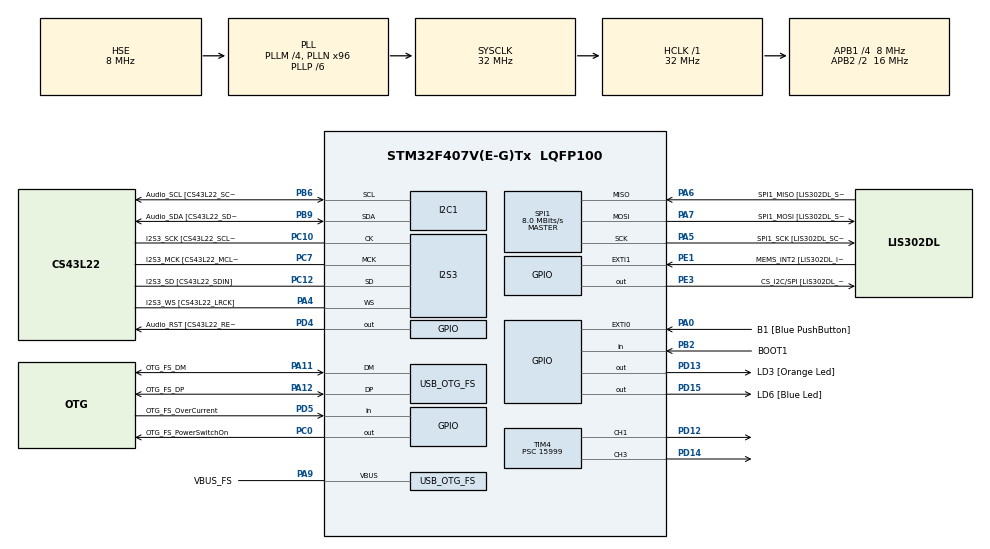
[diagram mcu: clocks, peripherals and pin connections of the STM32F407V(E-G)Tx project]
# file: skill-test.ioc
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I2S3.AudioFreq=I2S_AUDIOFREQ_96K
I2S3.AudioFreq-Half_Duplex_Master=I2S_AUDIOFREQ_96K
I2S3.ErrorAudioFreq=- %
I2S3.ErrorAudioFreq-Half_Duplex_Master=0.8 %
I2S3.FullDuplexMode=I2S_FULLDUPLEXMODE_DISABLE
I2S3.Instance=SPI$Index
I2S3.RealAudioFreq=- Hz
I2S3.RealAudioFreq-Half_Duplex_Master=96.774 KHz
I2S3.VirtualMode=I2S_MODE_MASTER
Mcu.Family=STM32F4
Mcu.Name=STM32F407V(E-G)Tx
Mcu.Package=LQFP100
NVIC.OTG_FS_IRQn=true\:0\:0\:false\:false\:true\:true\:true
NVIC.PriorityGroup=NVIC_PRIORITYGROUP_0
PA0-WKUP.GPIO_Label=B1 [Blue PushButton]
PA0-WKUP.GPIO_ModeDefaultEXTI=GPIO_MODE_EVT_RISING
PA0-WKUP.GPIO_PuPd=GPIO_NOPULL
PA0-WKUP.Signal=GPXTI0
PA10.GPIO_Label=OTG_FS_ID
PA10.GPIO_Mode=GPIO_MODE_AF_PP
PA10.GPIO_PuPd=GPIO_NOPULL
PA10.GPIO_Speed=GPIO_SPEED_FREQ_LOW
PA10.Signal=USB_OTG_FS_ID
PA11.GPIO_Label=OTG_FS_DM
PA11.GPIO_Mode=GPIO_MODE_AF_PP
PA11.GPIO_PuPd=GPIO_NOPULL
PA11.GPIO_Speed=GPIO_SPEED_FREQ_LOW
PA11.Mode=Host_Only
PA11.Signal=USB_OTG_FS_DM
PA12.GPIO_Label=OTG_FS_DP
PA12.GPIO_Mode=GPIO_MODE_AF_PP
PA12.GPIO_PuPd=GPIO_NOPULL
PA12.GPIO_Speed=GPIO_SPEED_FREQ_LOW
PA12.Mode=Host_Only
PA12.Signal=USB_OTG_FS_DP
PA13.GPIO_Label=SWDIO
PA13.Mode=Serial_Wire
PA13.Signal=SYS_JTMS-SWDIO
PA14.GPIO_Label=SWCLK
PA14.Mode=Serial_Wire
PA14.Signal=SYS_JTCK-SWCLK
PA4.GPIO_Label=I2S3_WS [CS43L22_LRCK]
PA4.GPIO_Mode=GPIO_MODE_AF_PP
PA4.GPIO_PuPd=GPIO_NOPULL
PA4.GPIO_Speed=GPIO_SPEED_FREQ_LOW
PA4.Mode=Half_Duplex_Master
PA4.Signal=I2S3_WS
PA5.GPIO_Label=SPI1_SCK [LIS302DL_SCL/SPC]
PA5.GPIO_Mode=GPIO_MODE_AF_PP
PA5.GPIO_PuPd=GPIO_NOPULL
PA5.GPIO_Speed=GPIO_SPEED_FREQ_LOW
PA5.Mode=Full_Duplex_Master
PA5.Signal=SPI1_SCK
PA6.GPIO_Label=SPI1_MISO [LIS302DL_SDO]
PA6.GPIO_Mode=GPIO_MODE_AF_PP
PA6.GPIO_PuPd=GPIO_NOPULL
PA6.GPIO_Speed=GPIO_SPEED_FREQ_LOW
PA6.Mode=Full_Duplex_Master
PA6.Signal=SPI1_MISO
PA7.GPIO_Label=SPI1_MOSI [LIS302DL_SDA/SDI/SDO]
PA7.GPIO_Mode=GPIO_MODE_AF_PP
PA7.GPIO_PuPd=GPIO_NOPULL
PA7.GPIO_Speed=GPIO_SPEED_FREQ_LOW
PA7.Mode=Full_Duplex_Master
PA7.Signal=SPI1_MOSI
PA9.GPIO_Label=VBUS_FS
PA9.GPIO_Mode=GPIO_MODE_INPUT
PA9.GPIO_PuPd=GPIO_NOPULL
PA9.Mode=Activate_VBUS
PA9.Signal=USB_OTG_FS_VBUS
PB10.GPIO_Label=CLK_IN [MP45DT02_CLK]
PB10.GPIO_Mode=GPIO_MODE_AF_PP
PB10.GPIO_PuPd=GPIO_NOPULL
PB10.GPIO_Speed=GPIO_SPEED_FREQ_LOW
PB10.Signal=I2S2_CK
PB2.GPIO_Label=BOOT1
PB2.GPIO_Mode=GPIO_MODE_INPUT
PB2.GPIO_PuPd=GPIO_NOPULL
PB2.Signal=GPIO_Input
PB3.GPIO_Label=SWO
PB3.Signal=SYS_JTDO-SWO
PB6.GPIO_Label=Audio_SCL [CS43L22_SCL]
PB6.GPIO_Mode=GPIO_MODE_AF_OD
PB6.GPIO_PuPd=GPIO_NOPULL
PB6.GPIO_Speed=GPIO_SPEED_FREQ_LOW
PB6.Mode=I2C
PB6.Signal=I2C1_SCL
PB9.GPIO_Label=Audio_SDA [CS43L22_SDA]
PB9.GPIO_Mode=GPIO_MODE_AF_OD
PB9.GPIO_PuPd=GPIO_NOPULL
PB9.GPIO_Speed=GPIO_SPEED_FREQ_LOW
PB9.Mode=I2C
PB9.Signal=I2C1_SDA
PC0.GPIO_Label=OTG_FS_PowerSwitchOn
PC0.GPIO_PuPd=GPIO_NOPULL
PC0.GPIO_Speed=GPIO_SPEED_FREQ_LOW
PC0.PinState=GPIO_PIN_SET
PC0.Signal=GPIO_Output
PC10.GPIO_Label=I2S3_SCK [CS43L22_SCLK]
PC10.GPIO_Mode=GPIO_MODE_AF_PP
PC10.GPIO_PuPd=GPIO_NOPULL
PC10.GPIO_Speed=GPIO_SPEED_FREQ_LOW
PC10.Mode=Half_Duplex_Master
PC10.Signal=I2S3_CK
PC12.GPIO_Label=I2S3_SD [CS43L22_SDIN]
PC12.GPIO_Mode=GPIO_MODE_AF_PP
PC12.GPIO_PuPd=GPIO_NOPULL
PC12.GPIO_Speed=GPIO_SPEED_FREQ_LOW
PC12.Mode=Half_Duplex_Master
PC12.Signal=I2S3_SD
PC14-OSC32_IN.GPIO_Label=PC14-OSC32_IN
PC14-OSC32_IN.Mode=LSE-External-Oscillator
PC14-OSC32_IN.Signal=RCC_OSC32_IN
PC15-OSC32_OUT.GPIO_Label=PC15-OSC32_OUT
PC15-OSC32_OUT.Mode=LSE-External-Oscillator
PC15-OSC32_OUT.Signal=RCC_OSC32_OUT
PC3.GPIO_Label=PDM_OUT [MP45DT02_DOUT]
PC3.GPIO_Mode=GPIO_MODE_AF_PP
PC3.GPIO_PuPd=GPIO_NOPULL
PC3.GPIO_Speed=GPIO_SPEED_FREQ_LOW
PC3.Signal=I2S2_SD
PC7.GPIO_Label=I2S3_MCK [CS43L22_MCLK]
PC7.GPIO_Mode=GPIO_MODE_AF_PP
PC7.GPIO_PuPd=GPIO_NOPULL
PC7.GPIO_Speed=GPIO_SPEED_FREQ_LOW
PC7.Mode=Master_Clock_Activated
PC7.Signal=I2S3_MCK
PD12.Signal=S_TIM4_CH1
PD13.GPIO_Label=LD3 [Orange Led]
PD13.GPIO_PuPd=GPIO_NOPULL
PD13.GPIO_Speed=GPIO_SPEED_FREQ_LOW
PD13.Signal=GPIO_Output
PD14.Signal=S_TIM4_CH3
PD15.GPIO_Label=LD6 [Blue Led]
PD15.GPIO_PuPd=GPIO_NOPULL
PD15.GPIO_Speed=GPIO_SPEED_FREQ_LOW
PD15.Signal=GPIO_Output
PD4.GPIO_Label=Audio_RST [CS43L22_RESET]
PD4.GPIO_PuPd=GPIO_NOPULL
PD4.GPIO_Speed=GPIO_SPEED_FREQ_LOW
PD4.Signal=GPIO_Output
PD5.GPIO_Label=OTG_FS_OverCurrent
PD5.GPIO_Mode=GPIO_MODE_INPUT
PD5.GPIO_PuPd=GPIO_NOPULL
PD5.Signal=GPIO_Input
PE1.GPIO_Label=MEMS_INT2 [LIS302DL_INT2]
PE1.GPIO_ModeDefaultEXTI=GPIO_MODE_EVT_RISING
PE1.GPIO_PuPd=GPIO_NOPULL
PE1.Signal=GPXTI1
PE3.GPIO_Label=CS_I2C/SPI [LIS302DL_CS_I2C/SPI]
PE3.GPIO_PuPd=GPIO_NOPULL
PE3.GPIO_Speed=GPIO_SPEED_FREQ_LOW
PE3.Signal=GPIO_Output
PH0-OSC_IN.GPIO_Label=PH0-OSC_IN
PH0-OSC_IN.Mode=HSE-External-Oscillator
PH0-OSC_IN.Signal=RCC_OSC_IN
PH1-OSC_OUT.GPIO_Label=PH1-OSC_OUT
PH1-OSC_OUT.Mode=HSE-External-Oscillator
PH1-OSC_OUT.Signal=RCC_OSC_OUT
ProjectManager.HeapSize=0x200
ProjectManager.StackSize=0x400
ProjectManager.TargetToolchain=STM32CubeIDE
RCC.48MHZClocksFreq_Value=48000000
RCC.AHBFreq_Value=32000000
RCC.APB1CLKDivider=RCC_HCLK_DIV4
RCC.APB1Freq_Value=8000000
RCC.APB1TimFreq_Value=16000000
RCC.APB2CLKDivider=RCC_HCLK_DIV2
RCC.APB2Freq_Value=16000000
RCC.APB2TimFreq_Value=32000000
RCC.CortexFreq_Value=32000000
RCC.HCLKFreq_Value=32000000
RCC.HSE_VALUE=8000000
RCC.HSI_VALUE=16000000
RCC.PLLI2SN=50
RCC.PLLM=4
RCC.PLLN=96
RCC.PLLP=RCC_PLLP_DIV6
RCC.SYSCLKFreq_VALUE=32000000
RCC.SYSCLKSource=RCC_SYSCLKSOURCE_PLLCLK
RCC.VCOOutputFreq_Value=192000000
SH.S_TIM4_CH1.0=TIM4_CH1,PWM Generation1 CH1
SH.S_TIM4_CH3.0=TIM4_CH3,PWM Generation3 CH3
SPI1.BaudRatePrescaler-Full_Duplex_Master=SPI_BAUDRATEPRESCALER_2
SPI1.CalculateBaudRate=8.0 MBits/s
SPI1.CalculateBaudRate-Full_Duplex_Master=42.0 MBits/s
SPI1.Direction=SPI_DIRECTION_2LINES
SPI1.Mode=SPI_MODE_MASTER
SPI1.Mode-Full_Duplex_Master=SPI_MODE_MASTER
SPI1.VirtualType=VM_MASTER
TIM4.AutoReloadPreload=TIM_AUTORELOAD_PRELOAD_ENABLE
TIM4.Channel-PWM\ Generation1\ CH1=TIM_CHANNEL_1
TIM4.Channel-PWM\ Generation3\ CH3=TIM_CHANNEL_3
TIM4.Period=149
TIM4.Prescaler=15999
TIM4.Pulse-PWM\ Generation1\ CH1=75
USB_HOST.BSP.number=1
USB_HOST.USBH_HandleTypeDef-CDC_FS=hUsbHostFS
USB_HOST.VirtualModeFS=Cdc
USB_HOST0.BSP.STBoard=false
USB_HOST0.BSP.api=Unknown
USB_HOST0.BSP.i2caddr=0
USB_HOST0.BSP.i2creg=0
USB_HOST0.BSP.instance=PC0
USB_HOST0.BSP.ip=GPIO
USB_HOST0.BSP.mode=Output
USB_HOST0.BSP.name=Drive_VBUS_FS
USB_HOST0.BSP.solution=PC0
USB_OTG_FS.VirtualMode=Host_Only
USB_OTG_FS.phy_itface=HCD_PHY_EMBEDDED
VP_TIM4_VS_ClockSourceINT.Mode=Internal
VP_USB_HOST_VS_USB_HOST_CDC_FS.Mode=CDC_FS
board=STM32F4DISCOVERY

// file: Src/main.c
/* USER CODE BEGIN Header */
/**
  ******************************************************************************
  * @file           : main.c
  * @brief          : Main program body
  ******************************************************************************
  * @attention
  *
  * <h2><center>&copy; Copyright (c) 2019 STMicroelectronics.
  * All rights reserved.</center></h2>
  *
  * This software component is licensed by ST under Ultimate Liberty license
  * SLA0044, the "License"; You may not use this file except in compliance with
  * the License. You may obtain a copy of the License at:
  *                             www.st.com/SLA0044
  *
  ******************************************************************************
  */
/* USER CODE END Header */

#include "main.h"
#include "usb_host.h"

I2C_HandleTypeDef hi2c1;

I2S_HandleTypeDef hi2s3;

SPI_HandleTypeDef hspi1;

TIM_HandleTypeDef htim4;

void SystemClock_Config(void);
static void MX_GPIO_Init(void);
static void MX_I2C1_Init(void);
static void MX_I2S3_Init(void);
static void MX_SPI1_Init(void);
static void MX_TIM4_Init(void);
void MX_USB_HOST_Process(void);

int main(void)
{

  /* MCU Configuration--------------------------------------------------------*/

  /* Reset of all peripherals, Initializes the Flash interface and the Systick. */
  HAL_Init();

  /* Configure the system clock */
  SystemClock_Config();

  /* Initialize all configured peripherals */
  MX_GPIO_Init();
  MX_I2C1_Init();
  MX_I2S3_Init();
  MX_SPI1_Init();
  MX_USB_HOST_Init();
  MX_TIM4_Init();
  /* USER CODE BEGIN 2 */
  int state = 0;
  HAL_TIM_PWM_Start(&htim4, TIM_CHANNEL_1);
  HAL_TIM_PWM_Start(&htim4, TIM_CHANNEL_3);
  /* USER CODE END 2 */

  /* Infinite loop */
  while (1)
  {
    MX_USB_HOST_Process();

    /* USER CODE BEGIN 3 */
    if (state == 0) {
    	if (HAL_GPIO_ReadPin(GPIOA, GPIO_PIN_0) == HAL_OK) {
    		while (HAL_GPIO_ReadPin(GPIOA, GPIO_PIN_0) == HAL_OK);
    		state = 1;
    	}
    } else if (state == 1) {
    	TIM4->ARR = 29;
    	TIM4->CCR1 = 15;
    	TIM4->CCR3 = 15;
    	if (HAL_GPIO_ReadPin(GPIOA, GPIO_PIN_0) == HAL_OK) {
    		int i = 0;
    		while (HAL_GPIO_ReadPin(GPIOA, GPIO_PIN_0) == HAL_OK) {
    			HAL_Delay(100);
    			i += 100;
    		}
    		if (i > 2000) {
    			state = 2;
    		}
    	}
    } else if (state == 2) {
    	TIM4->CCR1 = 0;
    	TIM4->CCR3 = 0;
    }
  }
  /* USER CODE END 3 */
}

void SystemClock_Config(void)
{
  RCC_OscInitTypeDef RCC_OscInitStruct = {0};
  RCC_ClkInitTypeDef RCC_ClkInitStruct = {0};
  RCC_PeriphCLKInitTypeDef PeriphClkInitStruct = {0};

  /** Configure the main internal regulator output voltage
  */
  __HAL_RCC_PWR_CLK_ENABLE();
  __HAL_PWR_VOLTAGESCALING_CONFIG(PWR_REGULATOR_VOLTAGE_SCALE1);
  /** Initializes the CPU, AHB and APB busses clocks
  */
  RCC_OscInitStruct.OscillatorType = RCC_OSCILLATORTYPE_HSE;
  RCC_OscInitStruct.HSEState = RCC_HSE_ON;
  RCC_OscInitStruct.PLL.PLLState = RCC_PLL_ON;
  RCC_OscInitStruct.PLL.PLLSource = RCC_PLLSOURCE_HSE;
  RCC_OscInitStruct.PLL.PLLM = 4;
  RCC_OscInitStruct.PLL.PLLN = 96;
  RCC_OscInitStruct.PLL.PLLP = RCC_PLLP_DIV6;
  RCC_OscInitStruct.PLL.PLLQ = 4;
  if (HAL_RCC_OscConfig(&RCC_OscInitStruct) != HAL_OK)
  {
    Error_Handler();
  }
  /** Initializes the CPU, AHB and APB busses clocks
  */
  RCC_ClkInitStruct.ClockType = RCC_CLOCKTYPE_HCLK|RCC_CLOCKTYPE_SYSCLK
                              |RCC_CLOCKTYPE_PCLK1|RCC_CLOCKTYPE_PCLK2;
  RCC_ClkInitStruct.SYSCLKSource = RCC_SYSCLKSOURCE_PLLCLK;
  RCC_ClkInitStruct.AHBCLKDivider = RCC_SYSCLK_DIV1;
  RCC_ClkInitStruct.APB1CLKDivider = RCC_HCLK_DIV4;
  RCC_ClkInitStruct.APB2CLKDivider = RCC_HCLK_DIV2;

  if (HAL_RCC_ClockConfig(&RCC_ClkInitStruct, FLASH_LATENCY_1) != HAL_OK)
  {
    Error_Handler();
  }
  PeriphClkInitStruct.PeriphClockSelection = RCC_PERIPHCLK_I2S;
  PeriphClkInitStruct.PLLI2S.PLLI2SN = 50;
  PeriphClkInitStruct.PLLI2S.PLLI2SR = 2;
  if (HAL_RCCEx_PeriphCLKConfig(&PeriphClkInitStruct) != HAL_OK)
  {
    Error_Handler();
  }
}

static void MX_I2C1_Init(void)
{

  hi2c1.Instance = I2C1;
  hi2c1.Init.ClockSpeed = 100000;
  hi2c1.Init.DutyCycle = I2C_DUTYCYCLE_2;
  hi2c1.Init.OwnAddress1 = 0;
  hi2c1.Init.AddressingMode = I2C_ADDRESSINGMODE_7BIT;
  hi2c1.Init.DualAddressMode = I2C_DUALADDRESS_DISABLE;
  hi2c1.Init.OwnAddress2 = 0;
  hi2c1.Init.GeneralCallMode = I2C_GENERALCALL_DISABLE;
  hi2c1.Init.NoStretchMode = I2C_NOSTRETCH_DISABLE;
  if (HAL_I2C_Init(&hi2c1) != HAL_OK)
  {
    Error_Handler();
  }

}

static void MX_I2S3_Init(void)
{

  hi2s3.Instance = SPI3;
  hi2s3.Init.Mode = I2S_MODE_MASTER_TX;
  hi2s3.Init.Standard = I2S_STANDARD_PHILIPS;
  hi2s3.Init.DataFormat = I2S_DATAFORMAT_16B;
  hi2s3.Init.MCLKOutput = I2S_MCLKOUTPUT_ENABLE;
  hi2s3.Init.AudioFreq = I2S_AUDIOFREQ_96K;
  hi2s3.Init.CPOL = I2S_CPOL_LOW;
  hi2s3.Init.ClockSource = I2S_CLOCK_PLL;
  hi2s3.Init.FullDuplexMode = I2S_FULLDUPLEXMODE_DISABLE;
  if (HAL_I2S_Init(&hi2s3) != HAL_OK)
  {
    Error_Handler();
  }

}

static void MX_SPI1_Init(void)
{

  /* SPI1 parameter configuration*/
  hspi1.Instance = SPI1;
  hspi1.Init.Mode = SPI_MODE_MASTER;
  hspi1.Init.Direction = SPI_DIRECTION_2LINES;
  hspi1.Init.DataSize = SPI_DATASIZE_8BIT;
  hspi1.Init.CLKPolarity = SPI_POLARITY_LOW;
  hspi1.Init.CLKPhase = SPI_PHASE_1EDGE;
  hspi1.Init.NSS = SPI_NSS_SOFT;
  hspi1.Init.BaudRatePrescaler = SPI_BAUDRATEPRESCALER_2;
  hspi1.Init.FirstBit = SPI_FIRSTBIT_MSB;
  hspi1.Init.TIMode = SPI_TIMODE_DISABLE;
  hspi1.Init.CRCCalculation = SPI_CRCCALCULATION_DISABLE;
  hspi1.Init.CRCPolynomial = 10;
  if (HAL_SPI_Init(&hspi1) != HAL_OK)
  {
    Error_Handler();
  }

}

static void MX_TIM4_Init(void)
{

  TIM_ClockConfigTypeDef sClockSourceConfig = {0};
  TIM_MasterConfigTypeDef sMasterConfig = {0};
  TIM_OC_InitTypeDef sConfigOC = {0};

  htim4.Instance = TIM4;
  htim4.Init.Prescaler = 15999;
  htim4.Init.CounterMode = TIM_COUNTERMODE_UP;
  htim4.Init.Period = 149;
  htim4.Init.ClockDivision = TIM_CLOCKDIVISION_DIV1;
  htim4.Init.AutoReloadPreload = TIM_AUTORELOAD_PRELOAD_ENABLE;
  if (HAL_TIM_Base_Init(&htim4) != HAL_OK)
  {
    Error_Handler();
  }
  sClockSourceConfig.ClockSource = TIM_CLOCKSOURCE_INTERNAL;
  if (HAL_TIM_ConfigClockSource(&htim4, &sClockSourceConfig) != HAL_OK)
  {
    Error_Handler();
  }
  if (HAL_TIM_PWM_Init(&htim4) != HAL_OK)
  {
    Error_Handler();
  }
  sMasterConfig.MasterOutputTrigger = TIM_TRGO_RESET;
  sMasterConfig.MasterSlaveMode = TIM_MASTERSLAVEMODE_DISABLE;
  if (HAL_TIMEx_MasterConfigSynchronization(&htim4, &sMasterConfig) != HAL_OK)
  {
    Error_Handler();
  }
  sConfigOC.OCMode = TIM_OCMODE_PWM1;
  sConfigOC.Pulse = 75;
  sConfigOC.OCPolarity = TIM_OCPOLARITY_HIGH;
  sConfigOC.OCFastMode = TIM_OCFAST_DISABLE;
  if (HAL_TIM_PWM_ConfigChannel(&htim4, &sConfigOC, TIM_CHANNEL_1) != HAL_OK)
  {
    Error_Handler();
  }
  sConfigOC.Pulse = 0;
  if (HAL_TIM_PWM_ConfigChannel(&htim4, &sConfigOC, TIM_CHANNEL_3) != HAL_OK)
  {
    Error_Handler();
  }
  HAL_TIM_MspPostInit(&htim4);

}

static void MX_GPIO_Init(void)
{
  GPIO_InitTypeDef GPIO_InitStruct = {0};

  /* GPIO Ports Clock Enable */
  __HAL_RCC_GPIOE_CLK_ENABLE();
  __HAL_RCC_GPIOC_CLK_ENABLE();
  __HAL_RCC_GPIOH_CLK_ENABLE();
  __HAL_RCC_GPIOA_CLK_ENABLE();
  __HAL_RCC_GPIOB_CLK_ENABLE();
  __HAL_RCC_GPIOD_CLK_ENABLE();

  /*Configure GPIO pin Output Level */
  HAL_GPIO_WritePin(CS_I2C_SPI_GPIO_Port, CS_I2C_SPI_Pin, GPIO_PIN_RESET);

  /*Configure GPIO pin Output Level */
  HAL_GPIO_WritePin(OTG_FS_PowerSwitchOn_GPIO_Port, OTG_FS_PowerSwitchOn_Pin, GPIO_PIN_SET);

  /*Configure GPIO pin Output Level */
  HAL_GPIO_WritePin(GPIOD, LD3_Pin|LD6_Pin|Audio_RST_Pin, GPIO_PIN_RESET);

  /*Configure GPIO pin : CS_I2C_SPI_Pin */
  GPIO_InitStruct.Pin = CS_I2C_SPI_Pin;
  GPIO_InitStruct.Mode = GPIO_MODE_OUTPUT_PP;
  GPIO_InitStruct.Pull = GPIO_NOPULL;
  GPIO_InitStruct.Speed = GPIO_SPEED_FREQ_LOW;
  HAL_GPIO_Init(CS_I2C_SPI_GPIO_Port, &GPIO_InitStruct);

  /*Configure GPIO pin : OTG_FS_PowerSwitchOn_Pin */
  GPIO_InitStruct.Pin = OTG_FS_PowerSwitchOn_Pin;
  GPIO_InitStruct.Mode = GPIO_MODE_OUTPUT_PP;
  GPIO_InitStruct.Pull = GPIO_NOPULL;
  GPIO_InitStruct.Speed = GPIO_SPEED_FREQ_LOW;
  HAL_GPIO_Init(OTG_FS_PowerSwitchOn_GPIO_Port, &GPIO_InitStruct);

  /*Configure GPIO pin : PDM_OUT_Pin */
  GPIO_InitStruct.Pin = PDM_OUT_Pin;
  GPIO_InitStruct.Mode = GPIO_MODE_AF_PP;
  GPIO_InitStruct.Pull = GPIO_NOPULL;
  GPIO_InitStruct.Speed = GPIO_SPEED_FREQ_LOW;
  GPIO_InitStruct.Alternate = GPIO_AF5_SPI2;
  HAL_GPIO_Init(PDM_OUT_GPIO_Port, &GPIO_InitStruct);

  /*Configure GPIO pin : B1_Pin */
  GPIO_InitStruct.Pin = B1_Pin;
  GPIO_InitStruct.Mode = GPIO_MODE_EVT_RISING;
  GPIO_InitStruct.Pull = GPIO_NOPULL;
  HAL_GPIO_Init(B1_GPIO_Port, &GPIO_InitStruct);

  /*Configure GPIO pin : BOOT1_Pin */
  GPIO_InitStruct.Pin = BOOT1_Pin;
  GPIO_InitStruct.Mode = GPIO_MODE_INPUT;
  GPIO_InitStruct.Pull = GPIO_NOPULL;
  HAL_GPIO_Init(BOOT1_GPIO_Port, &GPIO_InitStruct);

  /*Configure GPIO pin : CLK_IN_Pin */
  GPIO_InitStruct.Pin = CLK_IN_Pin;
  GPIO_InitStruct.Mode = GPIO_MODE_AF_PP;
  GPIO_InitStruct.Pull = GPIO_NOPULL;
  GPIO_InitStruct.Speed = GPIO_SPEED_FREQ_LOW;
  GPIO_InitStruct.Alternate = GPIO_AF5_SPI2;
  HAL_GPIO_Init(CLK_IN_GPIO_Port, &GPIO_InitStruct);

  /*Configure GPIO pins : LD3_Pin LD6_Pin Audio_RST_Pin */
  GPIO_InitStruct.Pin = LD3_Pin|LD6_Pin|Audio_RST_Pin;
  GPIO_InitStruct.Mode = GPIO_MODE_OUTPUT_PP;
  GPIO_InitStruct.Pull = GPIO_NOPULL;
  GPIO_InitStruct.Speed = GPIO_SPEED_FREQ_LOW;
  HAL_GPIO_Init(GPIOD, &GPIO_InitStruct);

  /*Configure GPIO pin : OTG_FS_OverCurrent_Pin */
  GPIO_InitStruct.Pin = OTG_FS_OverCurrent_Pin;
  GPIO_InitStruct.Mode = GPIO_MODE_INPUT;
  GPIO_InitStruct.Pull = GPIO_NOPULL;
  HAL_GPIO_Init(OTG_FS_OverCurrent_GPIO_Port, &GPIO_InitStruct);

  /*Configure GPIO pin : MEMS_INT2_Pin */
  GPIO_InitStruct.Pin = MEMS_INT2_Pin;
  GPIO_InitStruct.Mode = GPIO_MODE_EVT_RISING;
  GPIO_InitStruct.Pull = GPIO_NOPULL;
  HAL_GPIO_Init(MEMS_INT2_GPIO_Port, &GPIO_InitStruct);

}

void Error_Handler(void)
{
}

/************************ (C) COPYRIGHT STMicroelectronics *****END OF FILE****/
